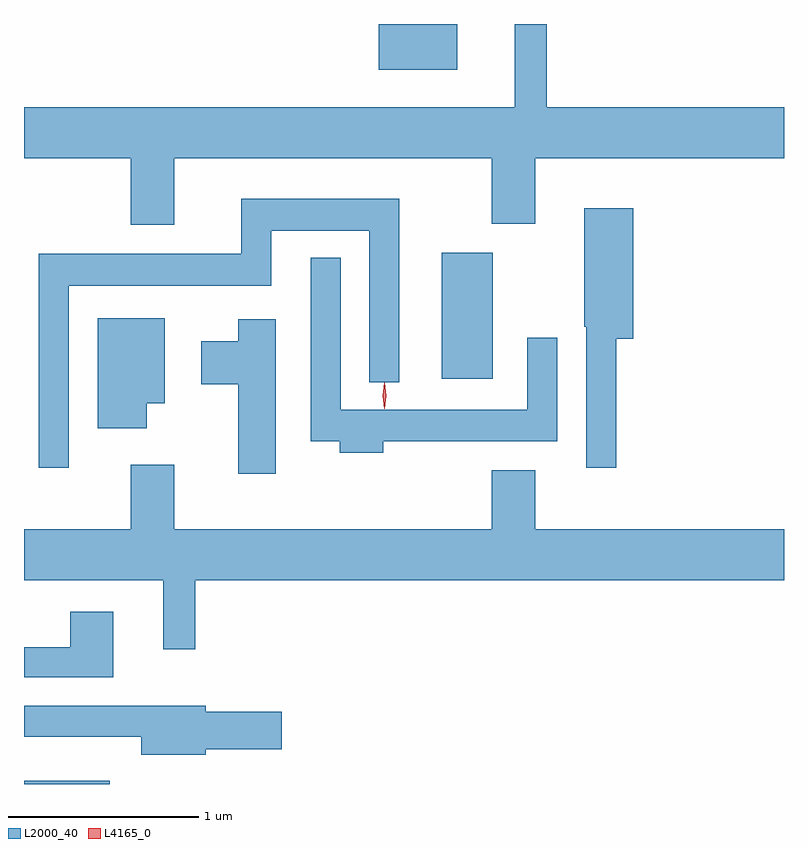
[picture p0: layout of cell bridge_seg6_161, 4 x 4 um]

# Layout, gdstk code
import gdstk
lib = gdstk.Library(unit=1e-6, precision=1e-09)
def R(c, l, rs):  # rectangles x0, y0, x1, y1
    for r in rs: c.add(gdstk.rectangle(r[:2], r[2:], *l))
def P(c, l, *ps):  # polygons
    for p in ps: c.add(gdstk.Polygon(p, *l))
L2000_40 = (2000, 40)
L4165_0 = (4165, 0)

bridge_seg6_161 = lib.new_cell('bridge_seg6_161')
R(bridge_seg6_161, L2000_40, [(1049.628,1577.823,1050.079,1577.839), (1051.826,1579.956,1052.094,1580.619), (1051.496,1581.581,1051.909,1581.823)])
P(bridge_seg6_161, L2000_40, [(1049.628,1581.116),(1050.191,1581.116),(1050.191,1580.766),(1050.419,1580.766),(1050.419,1581.116),(1052.091,1581.116),(1052.091,1580.771),(1052.319,1580.771),(1052.319,1581.116),(1053.628,1581.116),(1053.628,1581.384),(1052.379,1581.384),(1052.379,1581.823),(1052.211,1581.823),(1052.211,1581.384),(1049.628,1581.384)],
  [(1049.864,1580.446),(1050.929,1580.446),(1050.929,1580.736),(1051.446,1580.736),(1051.446,1579.938),(1051.604,1579.938),(1051.604,1580.904),(1050.771,1580.904),(1050.771,1580.614),(1049.706,1580.614),(1049.706,1579.488),(1049.864,1579.488)],
  [(1052.744,1580.166),(1052.834,1580.166),(1052.834,1580.854),(1052.576,1580.854),(1052.576,1580.23),(1052.586,1580.23),(1052.586,1579.488),(1052.744,1579.488)],
  [(1051.519,1579.626),(1052.434,1579.626),(1052.434,1580.173),(1052.276,1580.173),(1052.276,1579.794),(1051.294,1579.794),(1051.294,1580.593),(1051.136,1580.593),(1051.136,1579.626),(1051.291,1579.626),(1051.291,1579.566),(1051.519,1579.566)],
  [(1050.274,1579.826),(1050.369,1579.826),(1050.369,1580.274),(1050.016,1580.274),(1050.016,1579.696),(1050.274,1579.696)],
  [(1050.954,1580.269),(1050.756,1580.269),(1050.756,1580.154),(1050.561,1580.154),(1050.561,1579.926),(1050.756,1579.926),(1050.756,1579.456),(1050.954,1579.456)],
  [(1050.529,1578.896),(1053.628,1578.896),(1053.628,1579.164),(1052.319,1579.164),(1052.319,1579.474),(1052.091,1579.474),(1052.091,1579.164),(1050.419,1579.164),(1050.419,1579.504),(1050.191,1579.504),(1050.191,1579.164),(1049.628,1579.164),(1049.628,1578.896),(1050.361,1578.896),(1050.361,1578.533),(1050.529,1578.533)],
  [(1050.099,1578.729),(1049.871,1578.729),(1049.871,1578.544),(1049.628,1578.544),(1049.628,1578.386),(1050.099,1578.386)],
  [(1050.584,1578.006),(1050.984,1578.006),(1050.984,1578.204),(1050.584,1578.204),(1050.584,1578.234),(1049.628,1578.234),(1049.628,1578.071),(1050.246,1578.071),(1050.246,1577.976),(1050.584,1577.976)])
P(bridge_seg6_161, L4165_0, [(1051.525,1579.799),(1051.525,1579.8),(1051.515,1579.866),(1051.525,1579.932),(1051.525,1579.933),(1051.526,1579.932),(1051.535,1579.866),(1051.526,1579.8)],
  [(1051.525,1579.797),(1051.525,1579.798),(1051.515,1579.867),(1051.525,1579.936),(1051.525,1579.936),(1051.526,1579.936),(1051.535,1579.867),(1051.526,1579.798)])

lib.write_gds('bridge_seg6_161.gds')
